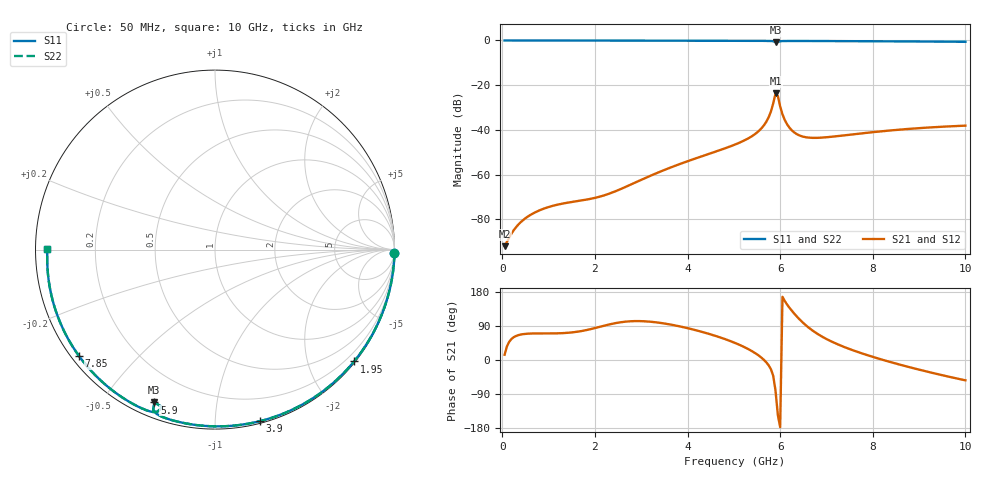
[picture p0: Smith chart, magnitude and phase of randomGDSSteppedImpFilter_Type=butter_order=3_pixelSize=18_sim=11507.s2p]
! freq	dB(S11)	phase(S11)	dB(S12)	phase(S12)
!  dB(S21)	phase(S21)	dB(S22)	phase(S22)
!S-par simulation data
#  GHz  S  DB  R 50
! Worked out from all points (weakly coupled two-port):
!   200 points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, 50 MHz to 10 GHz, reference 50 ohm
!   highest |S21| = -23.69 dB at 5.9 GHz (marker M1); lowest = -92.0 dB at 50 MHz (marker M2)
!   lowest |S11| = -0.8 dB at 5.9 GHz (marker M3), VSWR 22.88, Z = 3.19 - j33.8 ohm
!   |S11| at or under -10 dB: nowhere
!   |S22| runs from -0.8 to 0.0 dB; largest |S21 - S12| = 0
!   S11 on the Smith chart (normalised r, x): 50 MHz: open; 1.95 GHz: 0.03, -2.84; 3.9 GHz: 0.02, -1.30; 5.9 GHz: 0.06, -0.68; 7.85 GHz: 0.02, -0.34; 10 GHz: 0.03, +0.00
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0.05  -0.00 -1.0  -92.03 13.9  -92.03 13.9  -0.00 -1.0
0.45  -0.01 -9.1  -80.36 68.3  -80.36 68.3  -0.01 -9.1
1  -0.02 -20.2  -74.52 70.1  -74.52 70.1  -0.02 -20.2
1.75  -0.04 -34.9  -71.44 77.3  -71.44 77.3  -0.04 -34.9
1.95  -0.05 -38.8  -70.67 82.7  -70.67 82.7  -0.05 -38.8
2.4  -0.06 -47.5  -67.83 96.3  -67.83 96.3  -0.06 -47.5
3.4  -0.09 -66.2  -58.78 98.2  -58.78 98.2  -0.09 -66.2
3.9  -0.10 -75.3  -54.78 86.9  -54.78 86.9  -0.10 -75.3
5.05  -0.15 -95.6  -46.37 43.8  -46.37 43.8  -0.15 -95.6
5.4  -0.17 -101.7  -42.71 22.7  -42.71 22.7  -0.17 -101.7
5.65  -0.19 -106.2  -37.95 0.3  -37.95 0.3  -0.19 -106.2
5.8  -0.25 -109.5  -31.84 -24.2  -31.84 -24.2  -0.25 -109.5
5.9  -0.76 -111.7  -23.69 -81.0  -23.69 -81.0  -0.76 -111.7
5.95  -0.67 -108.5  -24.79 -144.9  -24.79 -144.9  -0.67 -108.5
6  -0.36 -109.6  -29.51 -177.1  -29.51 -177.1  -0.36 -109.5
6.1  -0.25 -112.1  -35.59 155.6  -35.59 155.6  -0.25 -112.0
6.2  -0.23 -114.1  -38.99 138.0  -38.99 138.0  -0.23 -114.1
6.4  -0.23 -117.7  -42.33 109.5  -42.33 109.5  -0.23 -117.7
6.7  -0.25 -122.8  -43.57 77.7  -43.57 77.7  -0.25 -122.8
7.85  -0.34 -142.0  -41.36 14.1  -41.36 14.1  -0.34 -142.0
8.35  -0.39 -150.5  -40.31 -4.3  -40.31 -4.3  -0.39 -150.5
10  -0.60 179.9  -38.11 -53.7  -38.11 -53.7  -0.60 179.9
